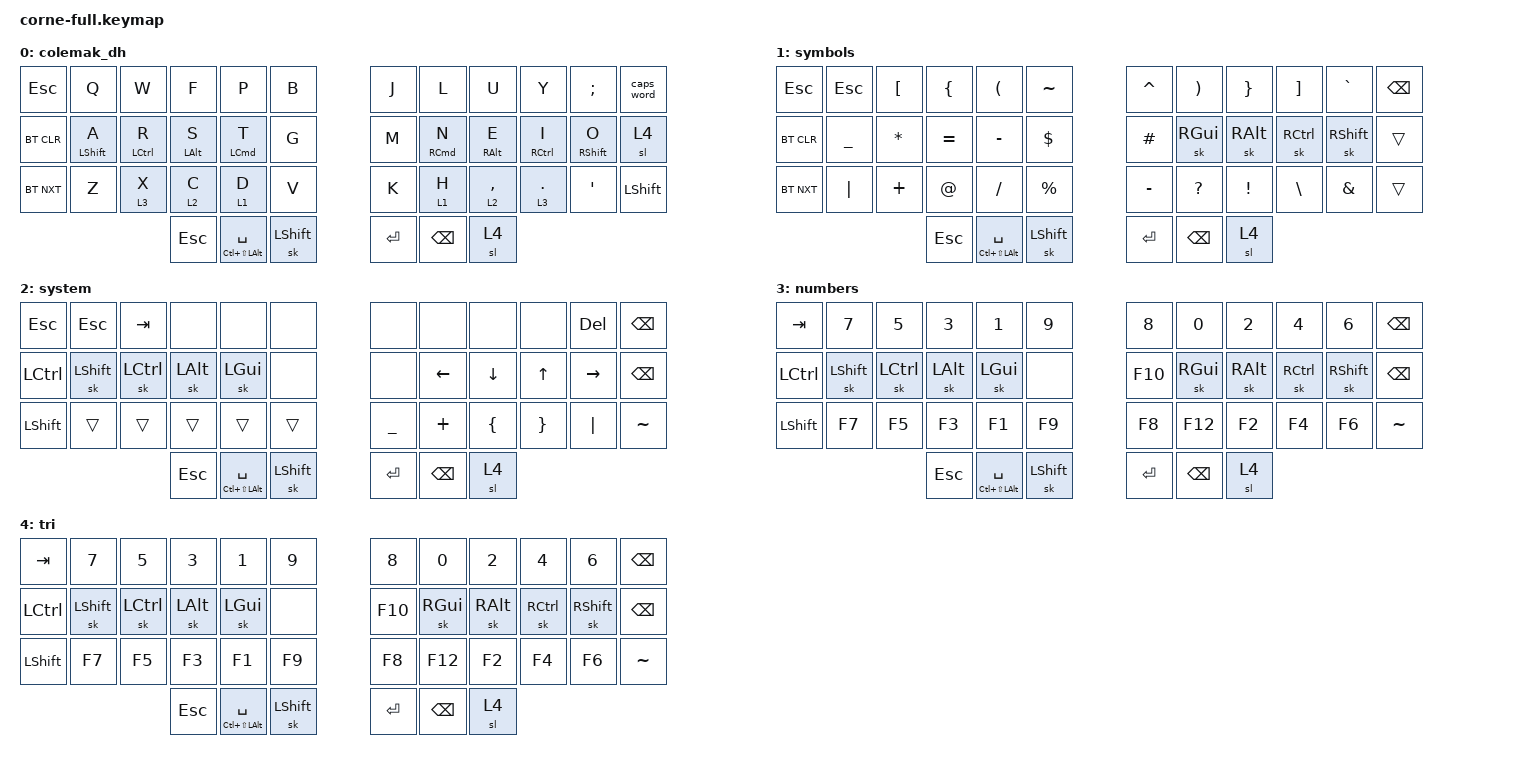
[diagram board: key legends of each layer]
/*
 * Copyright (c) 2020 The ZMK Contributors
 *
 * SPDX-License-Identifier: MIT
 */

#include <behaviors.dtsi>
#include <dt-bindings/zmk/keys.h>
#include <dt-bindings/zmk/bt.h>
#include <dt-bindings/zmk/outputs.h>

#define colemak_dh 0
#define symbols 1
#define system 2
#define numbers 3
#define tri 4

&mt {
    flavor = "tap-preferred";
    tapping_term_ms = <200>;
};

/ {

    combos {
        compatible = "zmk,combos";
        combo_esc {
            timeout-ms = <50>;
            key-positions = <1 2>;
            bindings = <&kp ESC>;
        };
    };

    behaviors {};
    
    keymap {
         compatible = "zmk,keymap";

         colemak_dh {
                        bindings = <
   &kp ESC   &kp Q   &kp W  &kp F  &kp P  &kp B                                                 &kp J  &kp L  &kp U   &kp Y  &kp SEMICOLON  &caps_word
   &bt BT_CLR &mt LEFT_SHIFT A  &mt LCTRL R  &mt LEFT_ALT S  &mt LEFT_COMMAND T  &kp G          &kp M  &mt RCMD N  &mt RIGHT_ALT E  &mt RIGHT_CONTROL I  &mt RIGHT_SHIFT O &sl 4
   &bt BT_NXT &kp Z  &lt 3 X  &lt 2 C  &lt 1 D  &kp V                                           &kp K  &lt 1 H  &lt 2 COMMA  &lt 3 DOT  &kp SINGLE_QUOTE &kp LSHIFT
   &kp ESC &mt LC(LS(LALT)) SPC  &sk LSHIFT                                                     &kp RET &kp BSPC &sl 4
                        >;
                };
                
         symbols {
                        bindings = <
   &kp ESC &kp ESC  &kp LEFT_BRACKET  &kp LEFT_BRACE  &kp LEFT_PARENTHESIS  &kp TILDE          &kp CARET  &kp RIGHT_PARENTHESIS  &kp RIGHT_BRACE  &kp RIGHT_BRACKET  &kp GRAVE &kp BSPC
   &bt BT_CLR &kp UNDERSCORE &kp ASTERISK &kp EQUAL &kp MINUS &kp DOLLAR                        &kp HASH  &sk RIGHT_GUI  &sk RIGHT_ALT  &sk RIGHT_CONTROL &sk RIGHT_SHIFT &trans
   &bt BT_NXT &kp PIPE &kp PLUS &kp AT_SIGN &kp FSLH &kp PERCENT                                &kp MINUS &kp QUESTION &kp EXCLAMATION  &kp BACKSLASH &kp AMPERSAND &trans
   &kp ESC &mt LC(LS(LALT)) SPC  &sk LSHIFT                                                     &kp RET &kp BSPC &sl 4
                        >;
                };

         system {
                        bindings = <
   &kp ESC   &kp ESCAPE  &kp TAB &none &none &none                                              &none &none &none &none &kp DEL &kp BSPC
   &kp LCTRL &sk LEFT_SHIFT &sk LEFT_CONTROL &sk LEFT_ALT &sk LEFT_GUI &none                   &none &kp LEFT &kp DOWN &kp UP &kp RIGHT &kp BACKSPACE
   &kp LSHFT &trans   &trans &trans   &trans   &trans                                          &kp UNDER &kp PLUS &kp LBRC &kp RBRC &kp PIPE &kp TILDE
   &kp ESC &mt LC(LS(LALT)) SPC  &sk LSHIFT                                                     &kp RET &kp BSPC &sl 4
                        >;
                };
        
         numbers {
                        bindings = <
   &kp TAB &kp NUMBER_7 &kp NUMBER_5 &kp NUMBER_3 &kp NUMBER_1 &kp NUMBER_9                    &kp NUMBER_8 &kp NUMBER_0 &kp NUMBER_2 &kp NUMBER_4 &kp NUMBER_6 &kp BSPC
   &kp LCTRL &sk LEFT_SHIFT &sk LEFT_CONTROL &sk LEFT_ALT &sk LEFT_GUI &none                   &kp F10 &sk RIGHT_GUI &sk RIGHT_ALT &sk RIGHT_CONTROL &sk RIGHT_SHIFT &kp BACKSPACE
   &kp LSHFT &kp F7 &kp F5 &kp F3 &kp F1 &kp F9                                                &kp F8 &kp F12 &kp F2 &kp F4 &kp F6 &kp TILDE
   &kp ESC &mt LC(LS(LALT)) SPC  &sk LSHIFT                                                     &kp RET &kp BSPC &sl 4
                        >;
                };
                
             tri {
                        bindings = <
   &kp TAB &kp NUMBER_7 &kp NUMBER_5 &kp NUMBER_3 &kp NUMBER_1 &kp NUMBER_9                    &kp NUMBER_8 &kp NUMBER_0 &kp NUMBER_2 &kp NUMBER_4 &kp NUMBER_6 &kp BSPC
   &kp LCTRL &sk LEFT_SHIFT &sk LEFT_CONTROL &sk LEFT_ALT &sk LEFT_GUI &none                   &kp F10 &sk RIGHT_GUI &sk RIGHT_ALT &sk RIGHT_CONTROL &sk RIGHT_SHIFT &kp BACKSPACE
   &kp LSHFT &kp F7 &kp F5 &kp F3 &kp F1 &kp F9                                                &kp F8 &kp F12 &kp F2 &kp F4 &kp F6 &kp TILDE
   &kp ESC &mt LC(LS(LALT)) SPC  &sk LSHIFT                                                    &kp RET &kp BSPC &sl 4
                        >;
                };
        };
};
